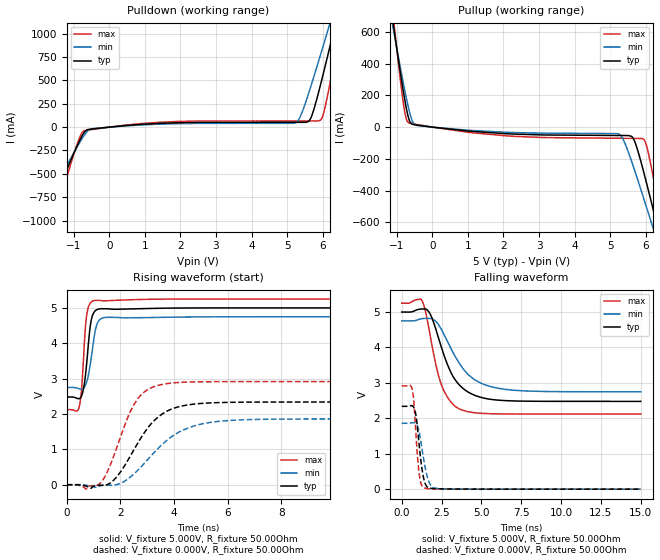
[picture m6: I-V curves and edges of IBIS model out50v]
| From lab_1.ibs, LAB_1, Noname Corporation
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[Model]   out50v
Model_type   Output
Vmeas = 1.400V
Vref = 1.400V
Cref = 5.000pF
Rref = 100.000Ohm
|   typ   min   max
C_comp   4.550pF   2.600pF   6.500pF
[Voltage Range]   5.000V   4.750V   5.250V
[Temperature Range]   50.0   100.0   0.0
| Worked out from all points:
|   slope of the pulldown table from 0 to 0.75 V, typ, clamps not added: 29.6 ohm
|   slope of the pullup table from 0 to 0.75 V, typ, clamps not added: 40.8 ohm
|   falling waveform, V_fixture 5.000V, R_fixture 50.00Ohm: 20-80 % time 1.38ns typ, 1.72ns min, 1.02ns max; typ from 5 V to 2.48 V
|   rising waveform, V_fixture 5.000V, R_fixture 50.00Ohm: 20-80 % time 198ps typ, 242ps min, 160ps max; typ from 2.48 V to 5 V
|   rising waveform, V_fixture 0.000V, R_fixture 50.00Ohm: 20-80 % time 1.25ns typ, 1.59ns min, 926ps max; typ from 0 V to 2.34 V
|   falling waveform, V_fixture 0.000V, R_fixture 50.00Ohm: 20-80 % time 355ps typ, 444ps min, 276ps max; typ from 2.34 V to 0 V
[Pulldown]
|   Voltage   I(typ)   I(min)   I(max)
-5V       -4.027A    -3.186A    -5.543A
-2.02V    -1.212A    -998.9mA   -1.596A
-1.595V   -816.4mA   -692.1mA   -1.041A
-870mV    -169.3mA   -186.6mA   -143.1mA
-605mV    -26.32mA   -39.23mA   -31.47mA
5.255V    51.67mA    48.79mA    66.3mA
5.675V    102.2mA    442.2mA    66.49mA
5.985V    517.2mA    828.1mA    99.84mA
6.205V    859.5mA    1.109A     460.6mA
6.325V    1.05A      1.264A     703.1mA
6.525V    1.372A     1.523A     1.123A
10V       7.106A     6.113A     8.761A
[Pullup]
|   Voltage   I(typ)   I(min)   I(max)
-5V       7.053A     5.738A     9.247A
-1.14V    706.4mA    668mA      773.1mA
-1.04V    551.2mA    543.3mA    567.1mA
-780mV    174mA      233.3mA    96.12mA
-665mV    52.44mA    113.3mA    27.17mA
-435mV    12.72mA    10.87mA    16.65mA
5.225V    -52.62mA   -42.21mA   -70.19mA
5.635V    -64.76mA   -235mA     -70.95mA
5.915V    -256.3mA   -427mA     -73.05mA
6.21V     -516.7mA   -636.2mA   -309.2mA
6.53V     -809.9mA   -866.6mA   -706.9mA
10V       -4.086A    -3.416A    -5.289A
[Ramp]
R_load = 50.00Ohm
|   typ   min   max
dV/dt_r   1.403V/1.244ns   1.116V/1.586ns   1.750V/924.101ps
dV/dt_f   1.513V/1.382ns   1.201V/1.723ns   1.878V/1.016ns
[Falling Waveform]
V_fixture = 5.000V
V_fixture_min = 4.750V
V_fixture_max = 5.250V
R_fixture = 50.00Ohm
|   Time   V(typ)   V(min)   V(max)
0s        5V         4.75V      5.25V
1.275ns   5.086V     4.812V     5.317V
1.5ns     5.086V     4.82V      4.998V
1.775ns   4.951V     4.817V     4.359V
2.45ns    4.059V     4.538V     2.998V
3.075ns   3.305V     3.982V     2.467V
3.65ns    2.925V     3.527V     2.259V
4.65ns    2.637V     3.07V      2.154V
6.225ns   2.507V     2.835V     2.124V
15ns      2.478V     2.748V     2.121V
[Rising Waveform]
V_fixture = 5.000V
V_fixture_min = 4.750V
V_fixture_max = 5.250V
R_fixture = 50.00Ohm
|   Time   V(typ)   V(min)   V(max)
0s        2.478V     2.748V     2.121V
475ps     2.437V     2.711V     2.239V
550ps     2.51V      2.703V     2.683V
650ps     2.826V     2.755V     3.919V
725ps     3.3V       2.872V     4.693V
875ps     4.487V     3.396V     5.135V
1ns       4.857V     4.066V     5.203V
1.175ns   4.965V     4.617V     5.214V
1.5ns     4.974V     4.733V     5.202V
15ns      5V         4.75V      5.25V
[Rising Waveform]
V_fixture = 0.000V
V_fixture_min = 0.000V
V_fixture_max = 0.000V
R_fixture = 50.00Ohm
|   Time   V(typ)   V(min)   V(max)
0s        27.12nV    271.5nV    5.17nV
725ps     -40.2mV    -14.6mV    -125.2mV
1.275ns   -18.53mV   -18.42mV   62.91mV
1.825ns   190.8mV    -905.1uV   966mV
2.525ns   1.018V     320.3mV    2.29V
2.9ns     1.481V     613.8mV    2.63V
3.425ns   1.925V     1.042V     2.814V
4.35ns    2.235V     1.55V      2.898V
5.675ns   2.323V     1.793V     2.915V
15ns      2.339V     1.861V     2.916V
[Falling Waveform]
V_fixture = 0.000V
V_fixture_min = 0.000V
V_fixture_max = 0.000V
R_fixture = 50.00Ohm
|   Time   V(typ)   V(min)   V(max)
0s        2.339V     1.861V     2.916V
650ps     2.353V     1.875V     2.828V
750ps     2.311V     1.878V     2.507V
875ps     2.123V     1.854V     1.661V
1.075ns   1.328V     1.643V     507.4mV
1.225ns   717.3mV    1.267V     137mV
1.425ns   219.2mV    717.8mV    36.63mV
1.75ns    32.62mV    160.5mV    12.68mV
2.2ns     11.18mV    21.94mV    6.639mV
15ns      27.12nV    271.5nV    5.17nV
